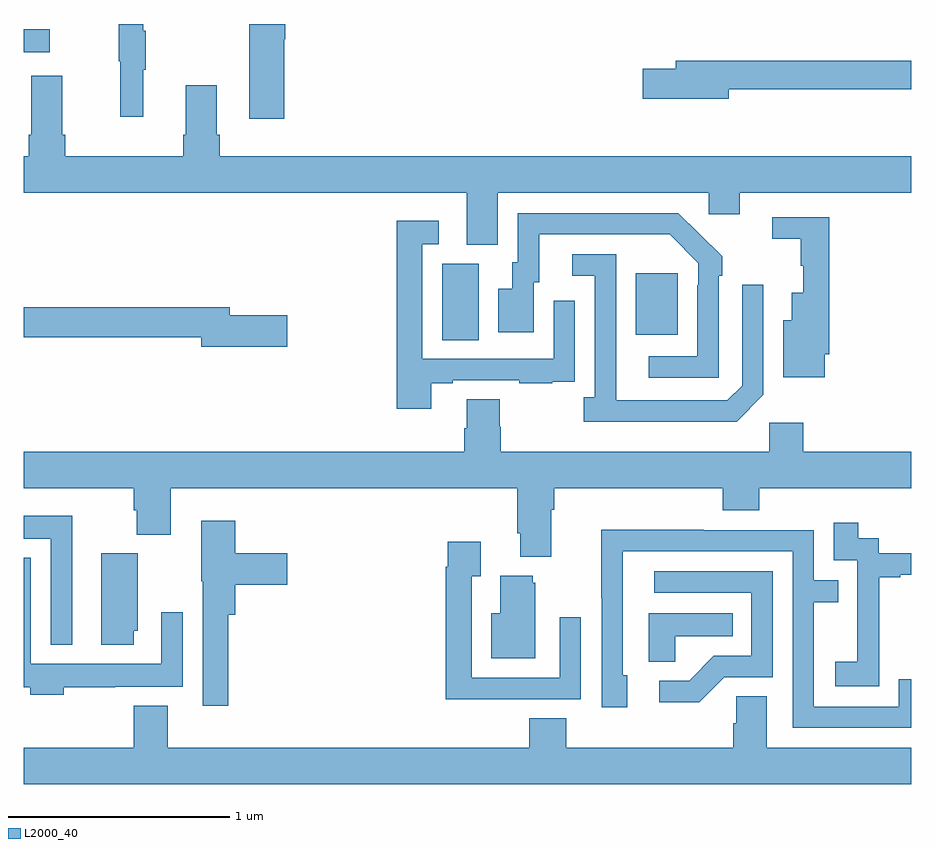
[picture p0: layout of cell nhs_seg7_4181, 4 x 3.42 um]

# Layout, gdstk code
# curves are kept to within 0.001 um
import gdstk
lib = gdstk.Library(unit=1e-6, precision=1e-09)
def R(c, l, rs):  # rectangles x0, y0, x1, y1
    for r in rs: c.add(gdstk.rectangle(r[:2], r[2:], *l))
def P(c, l, *ps):  # polygons
    for p in ps: c.add(gdstk.Polygon(p, *l))
L2000_40 = (2000, 40)

nhs_seg7_4181 = lib.new_cell('nhs_seg7_4181')
R(nhs_seg7_4181, L2000_40, [(376.886,1042.576,377.05,1042.92), (377.759,1042.601,377.947,1042.876), (375,1043.873,375.118,1043.977)])
P(nhs_seg7_4181, L2000_40, [(376.175,1043.931),(376.18,1043.931),(376.18,1044),(376.016,1044),(376.016,1043.574),(376.175,1043.574)],
  [(375.539,1043.795),(375.55,1043.795),(375.55,1043.969),(375.539,1043.969),(375.539,1044),(375.429,1044),(375.429,1043.832),(375.436,1043.832),(375.436,1043.583),(375.539,1043.583)],
  [(378.178,1043.706),(379,1043.706),(379,1043.834),(377.939,1043.834),(377.939,1043.798),(377.79,1043.798),(377.79,1043.663),(378.178,1043.663)],
  [(377.137,1043.24),(378.087,1043.24),(378.087,1043.142),(378.226,1043.142),(378.226,1043.24),(379,1043.24),(379,1043.404),(375.884,1043.404),(375.884,1043.5),(375.871,1043.5),(375.871,1043.725),(375.731,1043.725),(375.731,1043.5),(375.719,1043.5),(375.719,1043.404),(375.188,1043.404),(375.188,1043.5),(375.175,1043.5),(375.175,1043.767),(375.035,1043.767),(375.035,1043.5),(375.023,1043.5),(375.023,1043.404),(375,1043.404),(375,1043.24),(376.997,1043.24),(376.997,1043.005),(377.137,1043.005)],
  [(378.132,1042.865),(378.147,1042.865),(378.147,1042.953),(377.95,1043.148),(377.226,1043.148),(377.226,1042.926),(377.201,1042.926),(377.201,1042.807),(377.138,1042.807),(377.138,1042.611),(377.299,1042.611),(377.299,1042.836),(377.323,1042.836),(377.323,1043.052),(377.911,1043.052),(378.039,1042.923),(378.039,1042.823),(378.036,1042.823),(378.036,1042.503),(377.817,1042.503),(377.817,1042.407),(378.132,1042.407)],
  [(378.61,1042.513),(378.629,1042.513),(378.629,1043.13),(378.372,1043.13),(378.372,1043.032),(378.501,1043.032),(378.501,1042.911),(378.512,1042.911),(378.512,1042.789),(378.461,1042.789),(378.461,1042.666),(378.422,1042.666),(378.422,1042.409),(378.61,1042.409)],
  [(376.837,1042.382),(376.933,1042.382),(376.933,1042.395),(377.233,1042.395),(377.233,1042.382),(377.381,1042.382),(377.381,1042.389),(377.483,1042.389),(377.483,1042.498),(377.484,1042.498),(377.484,1042.753),(377.388,1042.753),(377.388,1042.491),(376.797,1042.491),(376.797,1043.007),(376.87,1043.007),(376.87,1043.113),(376.681,1043.113),(376.681,1042.266),(376.837,1042.266)],
  [(378.333,1042.329),(378.333,1042.825),(378.237,1042.825),(378.237,1042.371),(378.171,1042.305),(377.671,1042.305),(377.67,1042.962),(377.472,1042.962),(377.472,1042.866),(377.574,1042.866),(377.574,1042.318),(377.523,1042.318),(377.523,1042.208),(378.212,1042.208)],
  [(376.189,1042.688),(375.928,1042.688),(375.928,1042.724),(375,1042.724),(375,1042.588),(375.8,1042.588),(375.8,1042.546),(376.189,1042.546)],
  [(377.225,1041.706),(377.237,1041.706),(377.237,1041.599),(377.377,1041.599),(377.377,1041.812),(377.39,1041.812),(377.39,1041.908),(378.149,1041.908),(378.149,1041.809),(378.314,1041.809),(378.314,1041.908),(379,1041.908),(379,1042.072),(378.512,1042.072),(378.512,1042.204),(378.36,1042.204),(378.36,1042.072),(377.15,1042.072),(377.15,1042.185),(377.145,1042.185),(377.145,1042.31),(376.997,1042.31),(376.997,1042.178),(376.985,1042.178),(376.985,1042.072),(375,1042.072),(375,1041.908),(375.497,1041.908),(375.497,1041.809),(375.509,1041.809),(375.509,1041.7),(375.662,1041.7),(375.662,1041.908),(377.225,1041.908)],
  [(375.22,1041.784),(375,1041.784),(375,1041.68),(375.123,1041.68),(375.123,1041.203),(375.22,1041.203)],
  [(375.923,1041.338),(375.953,1041.338),(375.953,1041.473),(376.189,1041.473),(376.189,1041.615),(375.953,1041.615),(375.953,1041.763),(375.8,1041.763),(375.8,1041.489),(375.807,1041.489),(375.807,1040.928),(375.923,1040.928)],
  [(378.855,1041.223),(378.854,1041.223),(378.854,1041.507),(378.949,1041.507),(378.949,1041.519),(379,1041.519),(379,1041.615),(378.852,1041.615),(378.852,1041.684),(378.76,1041.684),(378.76,1041.754),(378.651,1041.754),(378.651,1041.585),(378.756,1041.585),(378.756,1041.356),(378.755,1041.356),(378.755,1041.127),(378.657,1041.127),(378.657,1041.017),(378.855,1041.017)],
  [(379,1041.048),(378.942,1041.048),(378.942,1040.925),(378.561,1040.925),(378.561,1041.394),(378.671,1041.394),(378.671,1041.495),(378.561,1041.495),(378.561,1041.72),(378.065,1041.72),(378.065,1041.722),(377.602,1041.722),(377.602,1041.415),(377.604,1041.415),(377.604,1040.922),(377.719,1040.922),(377.719,1041.066),(377.7,1041.066),(377.7,1041.624),(378.465,1041.624),(378.465,1040.829),(379,1040.829)],
  [(377.195,1040.958),(377.511,1040.958),(377.511,1041.328),(377.415,1041.328),(377.415,1041.054),(377.019,1041.054),(377.019,1041.511),(377.059,1041.511),(377.059,1041.667),(376.911,1041.667),(376.911,1041.554),(376.903,1041.554),(376.903,1040.957),(377.195,1040.957)],
  [(375.496,1041.267),(375.514,1041.267),(375.514,1041.615),(375.35,1041.615),(375.35,1041.204),(375.496,1041.204)],
  [(375.182,1041.012),(375.413,1041.012),(375.413,1041.014),(375.717,1041.014),(375.717,1041.349),(375.621,1041.349),(375.621,1041.118),(375.033,1041.118),(375.033,1041.595),(375,1041.595),(375,1041.012),(375.029,1041.012),(375.029,1040.978),(375.182,1040.978)],
  [(378.156,1041.057),(378.375,1041.057),(378.375,1041.534),(377.841,1041.534),(377.841,1041.438),(378.279,1041.438),(378.279,1041.153),(378.11,1041.153),(377.999,1041.042),(377.865,1041.042),(377.865,1040.945),(378.043,1040.945)],
  [(377.305,1041.483),(377.294,1041.483),(377.294,1041.514),(377.147,1041.514),(377.147,1041.346),(377.108,1041.346),(377.108,1041.143),(377.305,1041.143)],
  [(377.937,1041.242),(378.194,1041.242),(378.194,1041.346),(377.816,1041.346),(377.816,1041.127),(377.937,1041.127)],
  [(379,1040.74),(378.349,1040.74),(378.349,1040.972),(378.21,1040.972),(378.21,1040.849),(378.197,1040.849),(378.197,1040.74),(377.444,1040.74),(377.444,1040.873),(377.279,1040.873),(377.279,1040.74),(375.649,1040.74),(375.649,1040.929),(375.497,1040.929),(375.497,1040.74),(375,1040.74),(375,1040.576),(379,1040.576)])

lib.write_gds('nhs_seg7_4181.gds')
